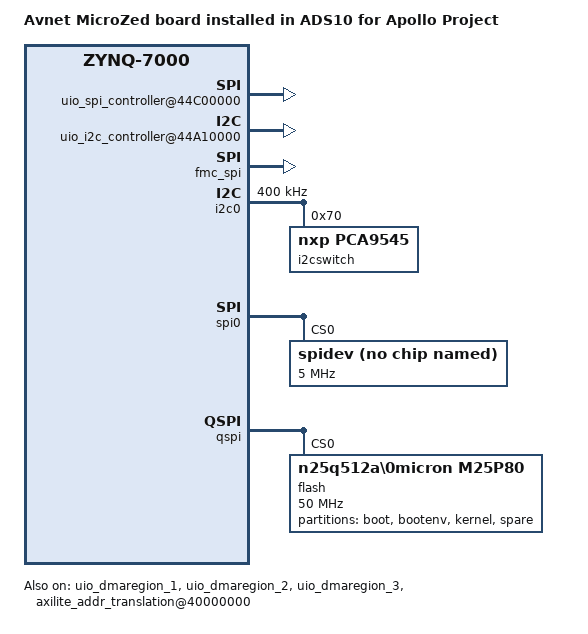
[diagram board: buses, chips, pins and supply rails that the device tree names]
// SPDX-License-Identifier: GPL-2.0
/*
 * Copyright (C) 2011 - 2014 Xilinx
 * Copyright (C) 2016 Jagan Teki <jteki@openedev.com>
 * Copyright (C) 2025 Analog Devices
 */
/dts-v1/;
#include "zynq-microzed.dtsi"

/ {
	model = "Avnet MicroZed board installed in ADS10 for Apollo Project";
	compatible = "avnet,zynq-microzed", "xlnx,zynq-microzed", "xlnx,zynq-7000";

	/delete-node/ replicator;

	aliases {
		ethernet0 = &gem0;
		serial0 = &uart1;
	};

	chosen {
		bootargs = "console=ttyPS0,115200 root=/dev/mmcblk0p2 rw earlyprintk rootfstype=ext4 rootwait uio_pdrv_genirq.of_id=generic-uio ip=192.168.0.10";
		stdout-path = "serial0:115200n8";
	};

	reserved-memory {
		#address-cells = <1>;
		#size-cells = <1>;
		ranges;
		reserved: buffer@3C000000 {
			no-map;
			reg = <0x3c000000 0x4000000>;
		};
	};

	reserved-driver@0 {
		compatible = "xlnx,reserved-memory";
		memory-region = <&reserved>;
	};

	uio_dmaregion_1 {
		compatible = "generic-uio";
		status = "okay";
		reg = <0x3f800000 0x100000>;
	};

	uio_dmaregion_2 {
		compatible = "generic-uio";
		status = "okay";
		reg = <0x3f900000 0x100000>;
	};

	uio_dmaregion_3 {
		compatible = "generic-uio";
		status = "okay";
		reg = <0x3fb00000 0x100000>;
	};

	/delete-node/ fpga-axi@0;

	amba_pl: fpga-axi@0 {
		compatible = "simple-bus";
		#address-cells = <0x01>;
		#size-cells = <0x01>;
		ranges;

		dma@60000000 {
			#dma-cells = <0x01>;
			clock-names = "s_axi_lite_aclk\0m_axi_aclk";
			clocks = <&clkc 0x0f &clkc 0x0f>;
			compatible = "xlnx,axi-cdma-1.00.a";
			interrupt-parent = <&intc>;
			interrupts = <0x00 0x21 0x04>;
			reg = <0x60000000 0x10000>;
			xlnx,addrwidth = <0x20>;
			xlnx,include-sg;
			interrupt-names = "cdma_introut";

			dma-channel@60000000 {
				compatible = "xlnx,axi-cdma-channel";
				interrupts = <0x00 0x21 0x04>;
				xlnx,datawidth = <0x20>;
				xlnx,device-id = <0x00>;
				xlnx,max-burst-len = <0x10>;
			};
		};

		axilite_addr_translation@40000000 {
			compatible = "xlnx,axilite-addr-translation-1.0";
			reg = <0x40000000 0x20000000>;
			status = "okay";
		};

		uio_fpga_registers@20000000 {
			compatible = "generic-uio";
			reg = <0x40000000 0x10000>;
		};

		uio_fpga_scratch_mem@44A80000 {
			compatible = "generic-uio";
			reg = <0x44a80000 0x8000>;
		};

		uio_spi_controller@44C00000 {
			compatible = "generic-uio";
			reg = <0x44c00000 0x30000>;
		};

		uio_i2c_controller@44A10000 {
			compatible = "generic-uio";
			reg = <0x44A10000 0x00010000>;
		};

		uio_hsci_controller@44D00000 {
			compatible = "generic-uio";
			reg = <0x44d00000 0x40000>;
		};

		uio_data_fifo_mem@30060000 {
			compatible = "generic-uio";
			reg = <0x80060000 0x20000>;
		};

		fmc_spi:uio_fmc_spi0@41000000 {
			compatible = "generic-uio";
			reg = <0x41000000 0x1000>;
		};

		uio_platform_id@60020000 {
			compatible = "generic-uio";
			reg = <0x60020000 0x1000>;
		};
	};
};



&gpio0 {
	emio-gpio-width = <0x0c>;
	gpio-mask-high = <0x00>;
	gpio-mask-low = <0x5600>;
};

&i2c0 {
	status = "okay";

	clock-frequency = <0x61a80>;

	i2cswitch@70 {
		compatible = "nxp,pca9545";
		reg = <0x70>;
		#address-cells = <0x01>;
		#size-cells = <0x00>;
	
		i2c@0 {
			reg = <0x00>;
		};

		i2c@1 {
			reg = <0x01>;
		};

		i2c@2 {
			reg = <0x02>;
		};

		i2c@3 {
			reg = <0x03>;
		};
	};
};

&spi0 {
	status = "okay";

	is-decoded-cs = <0x00>;
	num-cs = <0x03>;

	spidev@0 {
		compatible = "spidev";
		spi-max-frequency = <0x4c4b40>;
		reg = <0x00>;
	};
};

&qspi {
	spi-rx-bus-width = <0x04>;
	spi-tx-bus-width = <0x04>;

	/delete-node/ ps7-qspi@0;

	flash@0 {
		compatible = "n25q512a\0micron,m25p80";
		reg = <0x00>;
		#address-cells = <0x01>;
		#size-cells = <0x01>;
		spi-max-frequency = <0x2faf080>;

		partition@0 {
			label = "boot";
			reg = <0x00 0x500000>;
		};

		partition@500000 {
			label = "bootenv";
			reg = <0x500000 0x20000>;
		};

		partition@520000 {
			label = "kernel";
			reg = <0x520000 0xae0000>;
		};

		partition@1000000 {
			label = "spare";
			reg = <0x1000000 0x00>;
		};
	};
};

&amba {
	/delete-node/ sram@fffc0000;

	/delete-node/ etb@f8801000;

	/delete-node/ tpiu@f8803000;

	/delete-node/ funnel@f8804000;

	/delete-node/ ptm@f889c000;

	/delete-node/ ptm@f889c000;

	/delete-node/ ptm@f889c000;

	/delete-node/ ptm@f889d000;

	ocmc0:ocmc@f800c000 {
		compatible = "xlnx,zynq-ocmc-1.0";
		interrupt-parent = <&intc>;
		interrupts = <0x00 0x03 0x04>;
		reg = <0xf800c000 0x1000>;
	};
};
